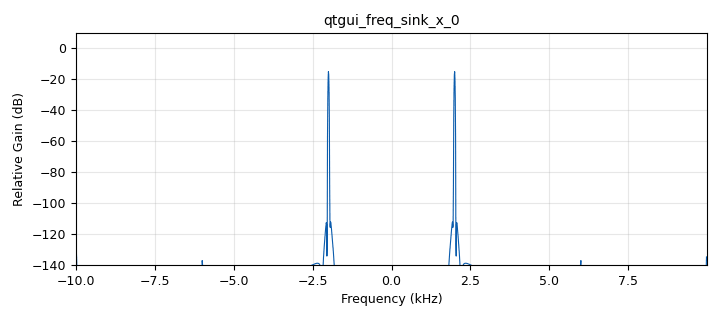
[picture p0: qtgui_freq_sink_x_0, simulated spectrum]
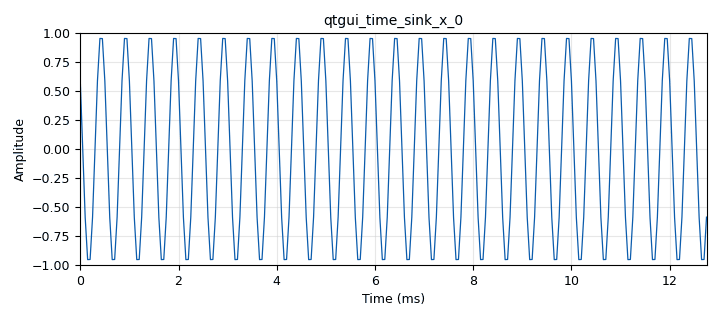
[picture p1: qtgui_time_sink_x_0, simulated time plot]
options:
  parameters:
    author: Deiver,alexander
    generate_options: qt_gui
    id: Punto1
    output_language: python
    title: Punto1
  states: {}

blocks:
- name: freq
  id: variable_qtgui_range
  parameters:
    label: frequency
    start: '1000'
    step: '1000'
    stop: '40000'
    value: '2000'
  states: {}
- name: samp_rate
  id: variable_qtgui_range
  parameters:
    start: '1000'
    step: '1000'
    stop: '400000'
    value: '20000'
  states: {}
- name: samp_rate
  id: variable
  parameters:
    value: '32000'
  states: {state: disabled}
- name: analog_sig_source_x_0
  id: analog_sig_source_x
  parameters:
    amp: '1'
    freq: freq
    offset: '0'
    phase: '0'
    samp_rate: samp_rate
    type: float
    waveform: analog.GR_SIN_WAVE
  states: {}
- name: blocks_throttle_0
  id: blocks_throttle
  parameters:
    samples_per_second: samp_rate
    type: float
  states: {}
- name: qtgui_freq_sink_x_0
  id: qtgui_freq_sink_x
  parameters:
    bw: samp_rate
    fc: '0'
    fftsize: '2048'
    type: float
  states: {}
- name: qtgui_time_sink_x_0
  id: qtgui_time_sink_x
  parameters:
    size: '256'
    srate: samp_rate
    type: float
  states: {}

connections:
- [analog_sig_source_x_0, '0', blocks_throttle_0, '0']
- [blocks_throttle_0, '0', qtgui_freq_sink_x_0, '0']
- [blocks_throttle_0, '0', qtgui_time_sink_x_0, '0']

metadata:
  file_format: 1
